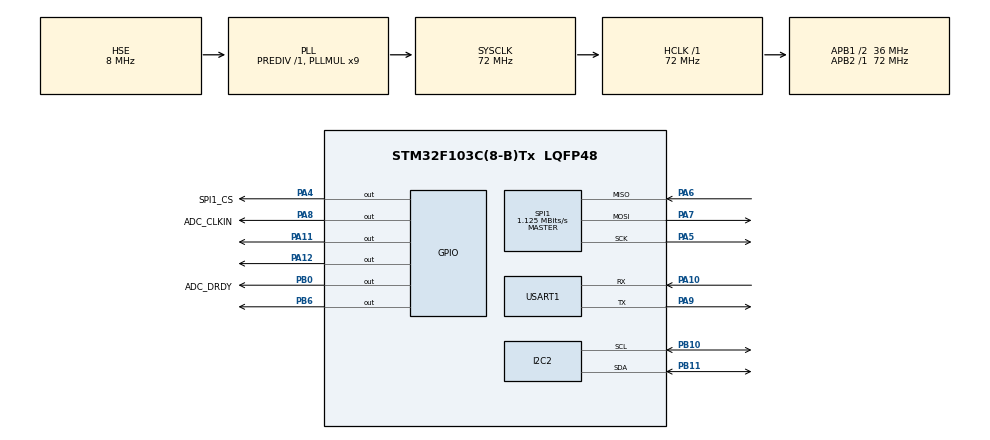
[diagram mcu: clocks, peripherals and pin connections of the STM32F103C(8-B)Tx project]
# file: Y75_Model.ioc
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Dma.Request0=USART1_RX
Dma.USART1_RX.0.Direction=DMA_PERIPH_TO_MEMORY
Dma.USART1_RX.0.Instance=DMA1_Channel5
Dma.USART1_RX.0.MemDataAlignment=DMA_MDATAALIGN_BYTE
Dma.USART1_RX.0.MemInc=DMA_MINC_ENABLE
Dma.USART1_RX.0.Mode=DMA_CIRCULAR
Dma.USART1_RX.0.PeriphDataAlignment=DMA_PDATAALIGN_BYTE
Dma.USART1_RX.0.PeriphInc=DMA_PINC_DISABLE
Dma.USART1_RX.0.Priority=DMA_PRIORITY_LOW
Mcu.Family=STM32F1
Mcu.Name=STM32F103C(8-B)Tx
Mcu.Package=LQFP48
NVIC.DMA1_Channel5_IRQn=true\:0\:0\:false\:false\:true\:false\:true\:true
NVIC.PriorityGroup=NVIC_PRIORITYGROUP_4
NVIC.TIM2_IRQn=true\:0\:0\:false\:false\:true\:true\:true\:true
NVIC.USART1_IRQn=true\:0\:0\:false\:false\:true\:true\:true\:true
PA10.Mode=Asynchronous
PA10.Signal=USART1_RX
PA11.Signal=GPIO_Output
PA12.Signal=GPIO_Output
PA13.Mode=Serial_Wire
PA13.Signal=SYS_JTMS-SWDIO
PA14.Mode=Serial_Wire
PA14.Signal=SYS_JTCK-SWCLK
PA4.GPIO_Label=SPI1_CS
PA4.GPIO_Speed=GPIO_SPEED_FREQ_HIGH
PA4.Signal=GPIO_Output
PA5.Mode=Full_Duplex_Master
PA5.Signal=SPI1_SCK
PA6.Mode=Full_Duplex_Master
PA6.Signal=SPI1_MISO
PA7.Mode=Full_Duplex_Master
PA7.Signal=SPI1_MOSI
PA8.GPIO_Label=ADC_CLKIN
PA8.GPIO_Speed=GPIO_SPEED_FREQ_HIGH
PA8.Signal=GPIO_Output
PA9.Mode=Asynchronous
PA9.Signal=USART1_TX
PB0.GPIO_Label=ADC_DRDY
PB0.GPIO_Speed=GPIO_SPEED_FREQ_HIGH
PB0.Signal=GPIO_Output
PB10.Mode=I2C
PB10.Signal=I2C2_SCL
PB11.Mode=I2C
PB11.Signal=I2C2_SDA
PB6.Signal=GPIO_Output
PD0-OSC_IN.Mode=HSE-External-Oscillator
PD0-OSC_IN.Signal=RCC_OSC_IN
PD1-OSC_OUT.Mode=HSE-External-Oscillator
PD1-OSC_OUT.Signal=RCC_OSC_OUT
ProjectManager.HeapSize=0x200
ProjectManager.StackSize=0x400
ProjectManager.TargetToolchain=CMake
RCC.AHBFreq_Value=72000000
RCC.APB1CLKDivider=RCC_HCLK_DIV2
RCC.APB1Freq_Value=36000000
RCC.APB1TimFreq_Value=72000000
RCC.APB2Freq_Value=72000000
RCC.APB2TimFreq_Value=72000000
RCC.HCLKFreq_Value=72000000
RCC.PLLMUL=RCC_PLL_MUL9
RCC.PLLSourceVirtual=RCC_PLLSOURCE_HSE
RCC.SYSCLKFreq_VALUE=72000000
RCC.SYSCLKSource=RCC_SYSCLKSOURCE_PLLCLK
RCC.USBFreq_Value=72000000
SPI1.BaudRatePrescaler=SPI_BAUDRATEPRESCALER_64
SPI1.CalculateBaudRate=1.125 MBits/s
SPI1.Direction=SPI_DIRECTION_2LINES
SPI1.Mode=SPI_MODE_MASTER
SPI1.VirtualType=VM_MASTER
TIM2.Period=1000-1
TIM2.Prescaler=72-1
USART1.VirtualMode=VM_ASYNC
VP_TIM2_VS_ClockSourceINT.Mode=Internal
board=custom

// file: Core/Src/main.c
/* USER CODE BEGIN Header */
/**
  ******************************************************************************
  * @file           : main.c
  * @brief          : Main program body
  ******************************************************************************
  * @attention
  *
  * Copyright (c) 2025 STMicroelectronics.
  * All rights reserved.
  *
  * This software is licensed under terms that can be found in the LICENSE file
  * in the root directory of this software component.
  * If no LICENSE file comes with this software, it is provided AS-IS.
  *
  ******************************************************************************
  */
/* USER CODE END Header */
#include "main.h"
#include "dma.h"
#include "i2c.h"
#include "spi.h"
#include "tim.h"
#include "usart.h"
#include "gpio.h"

/* USER CODE BEGIN Includes */
#include <string.h>
#include "calibration.h"
#include "filter.h"
#include "lha7668-8.h"
#include "self_test.h"
#include "rs485_cmd.h"
#include "sensor_types.h"
#include "flash_storage.h"
#include "at24c04.h"

/* USER CODE END Includes */

/* USER CODE BEGIN PV */
volatile uint32_t g_tick_ms = 0;

/* 开机以来见过的最低 MSP。HardFault 转储会打印它：
   若离 .bss 末尾很近，就是栈溢出；否则是野指针。 */
volatile uint32_t g_min_msp = 0x20005000UL;

/* Shared global state (declared in sensor_types.h) */
volatile sensor_data_t   g_sensor;
volatile system_state_t  g_sys;
config_t                 g_config = {
    .sn         = "HS-01234567",
    .fw_version = 0x00010706,
};
decouple_matrix_t        g_matrix;

/* USER CODE END PV */

void SystemClock_Config(void);

/* USER CODE BEGIN 0 */
#define ADC_DATA_BUFF_LEN       64
#define ADC_CHANNEL_NUM         6
#define KILOGRAM_TO_NEWTON      9.8

static uint8_t adc_data_int_count = 0;
static uint8_t adc_data_usr_count = 0;
static uint32_t adc_data_buff[ADC_DATA_BUFF_LEN][6] = { 0 };

static float adc_data_calculate(uint8_t index)
{
    return (float)((int32_t)adc_data_buff[adc_data_usr_count][index] - 0x800000) * (1.0f / 8388608.0f) * 2500;
}

static void adc_data_proc(float data[6])
{
    int i = 0;
    if (g_sys.data_format == 0) {
        for (i = 0; i < ADC_CHANNEL_NUM; i++) {
            g_sensor.force[i] = data[i];
        }
    } else if (g_sys.data_format == 1) {
        g_sensor.force[0] = g_matrix.m[0][0] * data[0] / KILOGRAM_TO_NEWTON + g_matrix.m[0][1] * data[1] / KILOGRAM_TO_NEWTON +
                    g_matrix.m[0][2] * data[2] / KILOGRAM_TO_NEWTON + g_matrix.m[0][3] * data[3] / KILOGRAM_TO_NEWTON +
                    g_matrix.m[0][4] * data[4] / KILOGRAM_TO_NEWTON + g_matrix.m[0][5] * data[5] / KILOGRAM_TO_NEWTON;

        g_sensor.force[1] = g_matrix.m[1][0] * data[0] / KILOGRAM_TO_NEWTON + g_matrix.m[1][1] * data[1] / KILOGRAM_TO_NEWTON +
                    g_matrix.m[1][2] * data[2] / KILOGRAM_TO_NEWTON + g_matrix.m[1][3] * data[3] / KILOGRAM_TO_NEWTON +
                    g_matrix.m[1][4] * data[4] / KILOGRAM_TO_NEWTON + g_matrix.m[1][5] * data[5] / KILOGRAM_TO_NEWTON;

        g_sensor.force[2] = g_matrix.m[2][0] * data[0] / KILOGRAM_TO_NEWTON + g_matrix.m[2][1] * data[1] / KILOGRAM_TO_NEWTON +
                    g_matrix.m[2][2] * data[2] / KILOGRAM_TO_NEWTON + g_matrix.m[2][3] * data[3] / KILOGRAM_TO_NEWTON +
                    g_matrix.m[2][4] * data[4] / KILOGRAM_TO_NEWTON + g_matrix.m[2][5] * data[5] / KILOGRAM_TO_NEWTON;

        g_sensor.force[3] = g_matrix.m[3][0] * data[0] / KILOGRAM_TO_NEWTON + g_matrix.m[3][1] * data[1] / KILOGRAM_TO_NEWTON +
                    g_matrix.m[3][2] * data[2] / KILOGRAM_TO_NEWTON + g_matrix.m[3][3] * data[3] / KILOGRAM_TO_NEWTON +
                    g_matrix.m[3][4] * data[4] / KILOGRAM_TO_NEWTON + g_matrix.m[3][5] * data[5] / KILOGRAM_TO_NEWTON;

        g_sensor.force[4] = g_matrix.m[4][0] * data[0] / KILOGRAM_TO_NEWTON + g_matrix.m[4][1] * data[1] / KILOGRAM_TO_NEWTON +
                    g_matrix.m[4][2] * data[2] / KILOGRAM_TO_NEWTON + g_matrix.m[4][3] * data[3] / KILOGRAM_TO_NEWTON +
                    g_matrix.m[4][4] * data[4] / KILOGRAM_TO_NEWTON + g_matrix.m[4][5] * data[5] / KILOGRAM_TO_NEWTON;

        g_sensor.force[5] = g_matrix.m[5][0] * data[0] / KILOGRAM_TO_NEWTON + g_matrix.m[5][1] * data[1] / KILOGRAM_TO_NEWTON +
                    g_matrix.m[5][2] * data[2] / KILOGRAM_TO_NEWTON + g_matrix.m[5][3] * data[3] / KILOGRAM_TO_NEWTON +
                    g_matrix.m[5][4] * data[4] / KILOGRAM_TO_NEWTON + g_matrix.m[5][5] * data[5] / KILOGRAM_TO_NEWTON;
    } else if (g_sys.data_format == 2) {
        g_sensor.force[0] = g_matrix.m[0][0] * data[0] + g_matrix.m[0][1] * data[1] +
                    g_matrix.m[0][2] * data[2] + g_matrix.m[0][3] * data[3] +
                    g_matrix.m[0][4] * data[4] + g_matrix.m[0][5] * data[5];

        g_sensor.force[1] = g_matrix.m[1][0] * data[0] + g_matrix.m[1][1] * data[1] +
                    g_matrix.m[1][2] * data[2] + g_matrix.m[1][3] * data[3] +
                    g_matrix.m[1][4] * data[4] + g_matrix.m[1][5] * data[5];

        g_sensor.force[2] = g_matrix.m[2][0] * data[0] + g_matrix.m[2][1] * data[1] +
                    g_matrix.m[2][2] * data[2] + g_matrix.m[2][3] * data[3] +
                    g_matrix.m[2][4] * data[4] + g_matrix.m[2][5] * data[5];

        g_sensor.force[3] = g_matrix.m[3][0] * data[0] + g_matrix.m[3][1] * data[1] +
                    g_matrix.m[3][2] * data[2] + g_matrix.m[3][3] * data[3] +
                    g_matrix.m[3][4] * data[4] + g_matrix.m[3][5] * data[5];

        g_sensor.force[4] = g_matrix.m[4][0] * data[0] + g_matrix.m[4][1] * data[1] +
                    g_matrix.m[4][2] * data[2] + g_matrix.m[4][3] * data[3] +
                    g_matrix.m[4][4] * data[4] + g_matrix.m[4][5] * data[5];

        g_sensor.force[5] = g_matrix.m[5][0] * data[0] + g_matrix.m[5][1] * data[1] +
                    g_matrix.m[5][2] * data[2] + g_matrix.m[5][3] * data[3] +
                    g_matrix.m[5][4] * data[4] + g_matrix.m[5][5] * data[5];
    }

    for (i = 0; i < ADC_CHANNEL_NUM; i++) {
        g_sensor.force[i] = FloatFilter_UpdateChannel(i, g_sensor.force[i]);
    }
}

void uart_debug(const char *msg)
{
    HAL_UART_Transmit(&huart1, (const uint8_t *)msg, (uint16_t)strlen(msg), 100);
}

/* Interrupt function callback -----------------------------------------------*/
void USART1_IRQHandler(void)
{
    if (__HAL_UART_GET_FLAG(&huart1, UART_FLAG_IDLE)) {
        __HAL_UART_CLEAR_IDLEFLAG(&huart1);
        if (huart1.hdmarx) {
            uint16_t rem = (uint16_t)__HAL_DMA_GET_COUNTER(huart1.hdmarx);
            rs485_rx_idle_cb(rem);
        }
    }
    HAL_UART_IRQHandler(&huart1);
}

void HAL_TIM_PeriodElapsedCallback(TIM_HandleTypeDef *htim)
{
    if (htim->Instance == TIM2) {
        uint32_t sp = __get_MSP();

        if (sp < g_min_msp) {
            g_min_msp = sp;               /* 记录栈用过的最深位置 */
        }
        g_tick_ms++;

        if (g_tick_ms % 3 == 0) {
            uint32_t raw[ADC_CHANNEL_NUM];
            uint8_t  i;
            /* 单颗 LHA7668 六通道 = FX/FY/FZ/TX/TY/TZ。
               整组读取，任一通道超时/序列异常则整组不更新，
               数组各通道保留自己上一次的有效值，绝不相互错位 */
            if (int_adcData_6ch(raw) == 0) {
                for (i = 0; i < ADC_CHANNEL_NUM; i++) {
                    adc_data_buff[adc_data_int_count][i] = raw[i];
                }
            }
            adc_data_int_count++;
            if (adc_data_int_count >= 64) {
                adc_data_int_count = 0;
            }
        }
    }
}

/* ---- Continuous RS485 data send state ---- */
static uint32_t g_last_rs485_send_ms;

/* ---- PA12 streaming heartbeat ---- */
#define LED_BLINK_HALF_PERIOD_MS   500U    /* 500 ms on / 500 ms off = 1 Hz */
static uint32_t g_led_toggle_ms;

void send_string(uint8_t *str, uint16_t len)
{
    HAL_UART_Transmit(&huart1, (uint8_t *)str, len, 500);
}

uint8_t mb_buf_send[33] = { 0 };

static void rs485_send_continuous(void)
{
    uint32_t interval = (g_sys.freq_mode == 0) ? 2U : 1U;  /* 500Hz or 1kHz */
    if ((g_tick_ms - g_last_rs485_send_ms) >= interval) {
        g_last_rs485_send_ms = g_tick_ms;

        /* Only reached while g_sys.send_mode == 1 (checked by the caller).
           The frame layout — AA 55 02 [6×float32] 0D 0A, the 00 00 80 7F
           debug frame, or nothing at all — is chosen by debug_mode. */
        rs485_send_data_frame(RS485_CMD_START);
    }
}

/* USER CODE END 0 */

int main(void)
{

  /* USER CODE BEGIN 1 */
//  uint8_t at24c04_write_buffer[32] = { 0 };

  /* USER CODE END 1 */

  /* MCU Configuration--------------------------------------------------------*/

  /* Reset of all peripherals, Initializes the Flash interface and the Systick. */
  HAL_Init();

  /* Configure the system clock */
  SystemClock_Config();

  /* Initialize all configured peripherals */
  MX_GPIO_Init();
  MX_DMA_Init();
  MX_USART1_UART_Init();
  MX_TIM2_Init();
  MX_I2C2_Init();
  MX_SPI1_Init();
  /* USER CODE BEGIN 2 */
    HAL_GPIO_WritePin(GPIOB, GPIO_PIN_6, GPIO_PIN_SET);

    /* Restore the persisted baud rate (written by RS485_CMD_SET_BAUD).
       Fall back to 460800 when the EEPROM is blank or holds an unsupported
       value, so a corrupt entry can never brick the communication link. */
    {
        uint8_t  baud_buf[4] = { 0 };
        uint32_t baud = 0;

        at24c04_read(UART_BAUD_ADDR, baud_buf, 4);
        baud = ((uint32_t)baud_buf[0])
             | ((uint32_t)baud_buf[1] << 8)
             | ((uint32_t)baud_buf[2] << 16)
             | ((uint32_t)baud_buf[3] << 24);

        if (baud == 460800U || baud == 256000U || baud == 115200U ||
            baud == 19200U  || baud == 9600U) {
            uart1_bsp = baud;
        } else {
            uart1_bsp = 460800;
        }
    }
    CUSTOM_USART1_Init();
    HAL_GPIO_WritePin(GPIOA, GPIO_PIN_11, GPIO_PIN_SET);

    calib_init();
    uart_debug("Data Transformation Layer Init OK\r\n");
    FloatFilter_Init();
    uart_debug("FloatFilter Init OK\r\n");

    lha7668_init(ADC_SAMPLING_RATE);
    uart_debug("LHA7668 OK\r\n");

    uart_debug("--- RS485 self-test ---\r\n");
    rs485_init(&huart1, rs485_cmd_dispatch);
    uint32_t st_rs485 = self_test_rs485();
    uart_debug(st_rs485 == ST_ERR_NONE ? "RS485 OK (USART+DMA)\r\n" : "RS485 FAIL\r\n");

    flash_load_all();

    /* Restore the data output unit written by 0x33 (kg) / 0x35 (N).
       1 → kg, 2 → N, anything else → N. */
    {
        uint8_t fmt = 0xFF;

        at24c04_read(DATA_FORMAT_ADDR, &fmt, 1);
        g_sys.data_format = (fmt == 1 || fmt == 2) ? fmt : 2;
    }

    {
        uint8_t sn_buf[SN_MAX_LEN + 1];
        uint8_t n = 0, ok = 1;

        at24c04_read(SN_ADDR, sn_buf, sizeof(sn_buf));
        while (n < SN_MAX_LEN &&
               sn_buf[n] != '\0' && sn_buf[n] != 0xFF) {
            if (sn_buf[n] < 0x20U || sn_buf[n] > 0x7EU) { ok = 0; break; }
            n++;
        }
        if (ok && n > 0U) {
            memcpy(g_config.sn, sn_buf, n);
            g_config.sn[n] = '\0';
        }
    }

    HAL_TIM_Base_Start_IT(&htim2);   /* Start 1kHz timer */

  /* USER CODE END 2 */

  /* Infinite loop */
  /* USER CODE BEGIN WHILE */
    while (1) {
        {
            float adc_tmp[ADC_CHANNEL_NUM] = { 0 };

            if (adc_data_usr_count != adc_data_int_count) {
                adc_data_usr_count = adc_data_int_count;
                for (uint8_t i = 0; i < ADC_CHANNEL_NUM; i++) {
                    adc_tmp[i] = adc_data_calculate(i);
                    adc_tmp[i] *= 5 / 3.3;

                    if (g_sys.zero_calib_busy == 0) {
                        adc_tmp[i] -= g_sensor.force_zero[i];
                    }
                }

                if (g_sys.zero_calib_busy == 1) {
                    calib_zero_cale(adc_tmp);
                }

                adc_data_proc(adc_tmp);
            }
        }

        if (calib_zero_is_done()) {
            g_sys.zero_calib_busy = 0;
            calib_zero_over();
            flash_save_zero();
        }

        if (g_sys.send_mode == 1) {
            rs485_send_continuous();
        } else {
            g_last_rs485_send_ms = g_tick_ms;   /* reset timer on stop */
        }

        {
            uint8_t streaming = g_sys.led_blink ||
                                (g_sys.send_mode == 1 &&
                                 (g_sys.debug_mode == 0 || g_sys.debug_mode == 1));

            if (streaming) {
                if ((uint32_t)(g_tick_ms - g_led_toggle_ms) >= LED_BLINK_HALF_PERIOD_MS) {
                    g_led_toggle_ms = g_tick_ms;
                    HAL_GPIO_TogglePin(GPIOA, GPIO_PIN_12);
                }
            } else {
                HAL_GPIO_WritePin(GPIOA, GPIO_PIN_12, GPIO_PIN_RESET);
                g_led_toggle_ms = g_tick_ms;    /* keep the phase aligned */
            }
        }

        rs485_process();
    /* USER CODE END WHILE */

    }
}

void SystemClock_Config(void)
{
  RCC_OscInitTypeDef RCC_OscInitStruct = {0};
  RCC_ClkInitTypeDef RCC_ClkInitStruct = {0};

  /** Initializes the RCC Oscillators according to the specified parameters
  * in the RCC_OscInitTypeDef structure.
  */
  RCC_OscInitStruct.OscillatorType = RCC_OSCILLATORTYPE_HSE;
  RCC_OscInitStruct.HSEState = RCC_HSE_ON;
  RCC_OscInitStruct.HSEPredivValue = RCC_HSE_PREDIV_DIV1;
  RCC_OscInitStruct.HSIState = RCC_HSI_ON;
  RCC_OscInitStruct.PLL.PLLState = RCC_PLL_ON;
  RCC_OscInitStruct.PLL.PLLSource = RCC_PLLSOURCE_HSE;
  RCC_OscInitStruct.PLL.PLLMUL = RCC_PLL_MUL9;
  if (HAL_RCC_OscConfig(&RCC_OscInitStruct) != HAL_OK)
  {
    Error_Handler();
  }

  /** Initializes the CPU, AHB and APB buses clocks
  */
  RCC_ClkInitStruct.ClockType = RCC_CLOCKTYPE_HCLK|RCC_CLOCKTYPE_SYSCLK
                              |RCC_CLOCKTYPE_PCLK1|RCC_CLOCKTYPE_PCLK2;
  RCC_ClkInitStruct.SYSCLKSource = RCC_SYSCLKSOURCE_PLLCLK;
  RCC_ClkInitStruct.AHBCLKDivider = RCC_SYSCLK_DIV1;
  RCC_ClkInitStruct.APB1CLKDivider = RCC_HCLK_DIV2;
  RCC_ClkInitStruct.APB2CLKDivider = RCC_HCLK_DIV1;

  if (HAL_RCC_ClockConfig(&RCC_ClkInitStruct, FLASH_LATENCY_2) != HAL_OK)
  {
    Error_Handler();
  }
}

void Error_Handler(void)
{
  __disable_irq();
  while (1)
  {
  }
}
